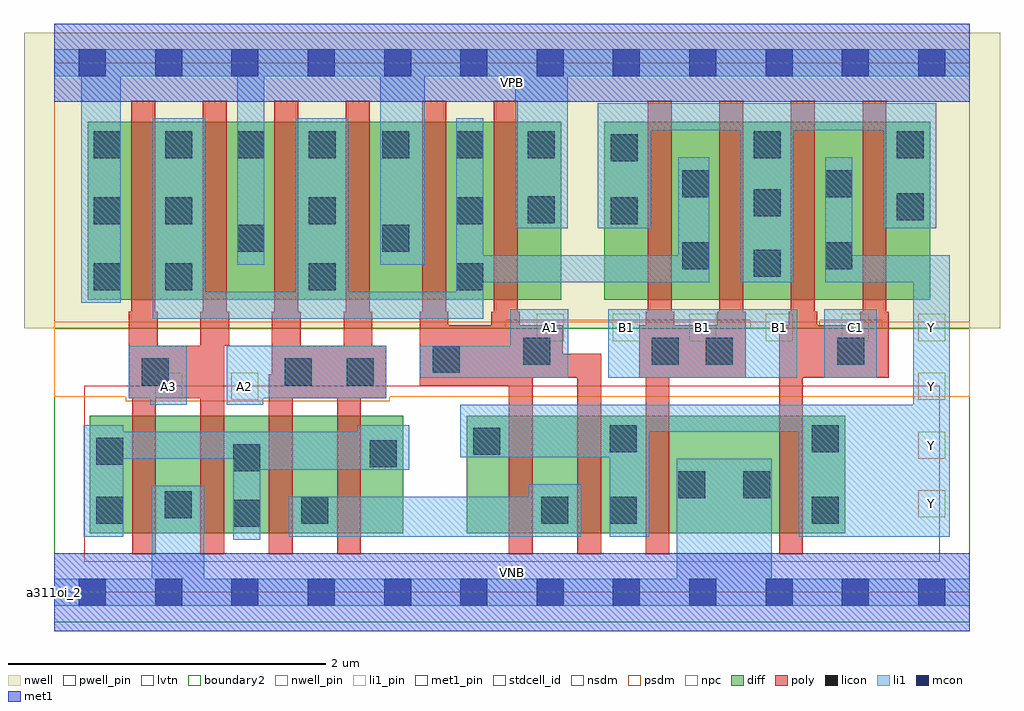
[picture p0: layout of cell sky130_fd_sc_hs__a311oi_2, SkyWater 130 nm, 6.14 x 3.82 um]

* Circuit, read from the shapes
.subckt sky130_fd_sc_hs__a311oi_2 A1 A2 A3 B1 C1 VGND VNB VPB VPWR Y
XM1 VGND A3 n1 VNB sky130_fd_pr__nfet_01v8_lvt w=0.74 l=0.15 m=2
XM2 n2 A2 n1 VNB sky130_fd_pr__nfet_01v8_lvt w=0.74 l=0.15 m=2
XM3 n2 A1 Y VNB sky130_fd_pr__nfet_01v8_lvt w=0.74 l=0.15 m=2
XM4 VGND B1 Y VNB sky130_fd_pr__nfet_01v8_lvt w=0.74 l=0.15
XM5 Y C1 VGND VNB sky130_fd_pr__nfet_01v8_lvt w=0.74 l=0.15
XM6 n3 A3 VPWR VPB sky130_fd_pr__pfet_01v8 w=1.12 l=0.15 m=2
XM7 n3 A2 VPWR VPB sky130_fd_pr__pfet_01v8 w=1.12 l=0.15 m=2
XM8 n3 A1 VPWR VPB sky130_fd_pr__pfet_01v8 w=1.12 l=0.15 m=2
XM9 n3 B1 n4 VPB sky130_fd_pr__pfet_01v8 w=1.12 l=0.15 m=2
XM10 Y C1 n4 VPB sky130_fd_pr__pfet_01v8 w=1.12 l=0.15 m=2
.ends

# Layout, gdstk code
import gdstk
lib = gdstk.Library(unit=1e-6, precision=1e-09)
def R(c, l, rs):  # rectangles x0, y0, x1, y1
    for r in rs: c.add(gdstk.rectangle(r[:2], r[2:], *l))
def A(c, l, x, y, w, h, nx, ny, dx, dy):  # array of equal rectangles
    R(c, l, [(x+i*dx, y+j*dy, x+i*dx+w, y+j*dy+h) for i in range(nx) for j in range(ny)])
def P(c, l, *ps):  # polygons
    for p in ps: c.add(gdstk.Polygon(p, *l))
nwell_pin = (64, 16)
nwell = (64, 20)
diff = (65, 20)
poly = (66, 20)
licon = (66, 44)
li1_pin = (67, 16)
li1 = (67, 20)
mcon = (67, 44)
met1_pin = (68, 16)
met1 = (68, 20)
stdcell_id = (81, 4)
nsdm = (93, 44)
psdm = (94, 20)
npc = (95, 20)
pwell_pin = (122, 16)
lvtn = (125, 44)
boundary2 = (236, 0)

sky130_fd_sc_hs__a311oi_ = lib.new_cell('sky130_fd_sc_hs__a311oi_2')
R(sky130_fd_sc_hs__a311oi_, nwell_pin, [(0,3.085,5.76,3.33)])
R(sky130_fd_sc_hs__a311oi_, nwell, [(-0.19,1.66,5.95,3.52)])
R(sky130_fd_sc_hs__a311oi_, diff, [(0.225,0.37,2.195,1.11), (2.595,0.37,4.975,1.11), (0.21,1.84,3.19,2.96), (3.46,1.84,5.51,2.96)])
P(sky130_fd_sc_hs__a311oi_, poly, [(1.1,1.765),(1.085,1.765),(1.085,3.09),(0.935,3.09),(0.935,1.765),(0.92,1.765),(0.92,1.55),(0.65,1.55),(0.65,1.765),(0.635,1.765),(0.635,3.09),(0.485,3.09),(0.485,1.765),(0.47,1.765),(0.47,1.22),(0.49,1.22),(0.49,0.24),(0.64,0.24),(0.64,1.22),(0.92,1.22),(0.92,0.24),(1.07,0.24),(1.07,1.55),(1.1,1.55)],
  [(2.09,1.55),(2,1.55),(2,1.765),(1.985,1.765),(1.985,3.09),(1.835,3.09),(1.835,1.765),(1.82,1.765),(1.82,1.55),(1.55,1.55),(1.55,1.765),(1.535,1.765),(1.535,3.09),(1.385,3.09),(1.385,1.765),(1.37,1.765),(1.37,1.37),(1.35,1.37),(1.35,0.24),(1.5,0.24),(1.5,1.22),(1.78,1.22),(1.78,0.24),(1.93,0.24),(1.93,1.22),(2.09,1.22)],
  [(3.44,1.5),(3.2,1.5),(3.2,1.68),(2.93,1.68),(2.93,1.765),(2.915,1.765),(2.915,3.09),(2.765,3.09),(2.765,1.765),(2.75,1.765),(2.75,1.68),(2.48,1.68),(2.48,1.765),(2.465,1.765),(2.465,3.09),(2.315,3.09),(2.315,1.765),(2.3,1.765),(2.3,1.3),(2.86,1.3),(2.86,0.24),(3.01,0.24),(3.01,1.35),(3.29,1.35),(3.29,0.24),(3.44,0.24)],
  [(4.35,1.765),(4.335,1.765),(4.335,3.09),(4.185,3.09),(4.185,1.765),(4.17,1.765),(4.17,1.68),(3.9,1.68),(3.9,1.765),(3.885,1.765),(3.885,3.09),(3.735,3.09),(3.735,1.765),(3.72,1.765),(3.72,1.68),(3.68,1.68),(3.68,1.35),(3.72,1.35),(3.72,0.24),(3.87,0.24),(3.87,1.35),(4.35,1.35)],
  [(5.25,1.765),(5.235,1.765),(5.235,3.09),(5.085,3.09),(5.085,1.765),(5.07,1.765),(5.07,1.68),(4.8,1.68),(4.8,1.765),(4.785,1.765),(4.785,3.09),(4.635,3.09),(4.635,1.765),(4.62,1.765),(4.62,1.68),(4.56,1.68),(4.56,0.24),(4.71,0.24),(4.71,1.35),(5.25,1.35)])
A(sky130_fd_sc_hs__a311oi_, licon, 2.53, 1.9, 0.17, 0.17, 1, 3, 0, 0.415)
A(sky130_fd_sc_hs__a311oi_, licon, 0.25, 2.73, 0.17, 0.17, 4, 1, 0.45, 0)
R(sky130_fd_sc_hs__a311oi_, licon, [(1.125,0.41,1.295,0.58), (0.265,0.43,0.435,0.6), (1.555,0.43,1.725,0.6), (3.065,0.43,3.235,0.6), (3.495,0.43,3.665,0.6), (4.765,0.43,4.935,0.6), (0.695,0.465,0.865,0.635), (3.925,0.59,4.095,0.76), (4.335,0.59,4.505,0.76), (1.125,0.76,1.295,0.93), (1.985,0.785,2.155,0.955), (0.265,0.8,0.435,0.97), (2.635,0.865,2.805,1.035), (3.495,0.88,3.665,1.05), (4.765,0.88,4.935,1.05), (0.55,1.3,0.72,1.47), (1.45,1.3,1.62,1.47), (1.84,1.3,2.01,1.47), (2.38,1.38,2.55,1.55), (2.95,1.43,3.12,1.6), (3.76,1.43,3.93,1.6), (4.1,1.43,4.27,1.6), (4.925,1.43,5.095,1.6), (0.25,1.9,0.42,2.07), (0.7,1.9,0.87,2.07), (1.6,1.9,1.77,2.07), (4.4,1.985,4.57,2.155), (3.95,2.03,4.12,2.2), (4.85,2.03,5.02,2.2), (1.15,2.14,1.32,2.31), (2.065,2.14,2.235,2.31), (0.25,2.315,0.42,2.485), (0.7,2.315,0.87,2.485), (1.6,2.315,1.77,2.485), (3.5,2.315,3.67,2.485), (2.98,2.32,3.15,2.49), (5.3,2.34,5.47,2.51), (4.4,2.365,4.57,2.535), (3.95,2.485,4.12,2.655), (4.85,2.485,5.02,2.655), (3.5,2.71,3.67,2.88), (2.065,2.73,2.235,2.9), (2.98,2.73,3.15,2.9), (4.4,2.73,4.57,2.9), (5.3,2.73,5.47,2.9)])
A(sky130_fd_sc_hs__a311oi_, li1_pin, 5.435, 0.47, 0.17, 0.17, 1, 3, 0, 0.37)
A(sky130_fd_sc_hs__a311oi_, li1_pin, 3.035, 1.58, 0.17, 0.17, 6, 1, 0.48, 0)
R(sky130_fd_sc_hs__a311oi_, li1_pin, [(0.635,1.21,0.805,1.38), (1.115,1.21,1.285,1.38)])
R(sky130_fd_sc_hs__a311oi_, li1, [(3.485,1.35,4.675,1.78), (4.845,1.35,5.175,1.78)])
P(sky130_fd_sc_hs__a311oi_, li1, [(2.9,2.29),(2.9,3.245),(2.33,3.245),(2.33,2.06),(2.05,2.06),(2.05,3.245),(1.32,3.245),(1.32,2.06),(1.15,2.06),(1.15,3.245),(0.42,3.245),(0.42,1.82),(0.17,1.82),(0.17,3.245),(0,3.245),(0,3.415),(5.76,3.415),(5.76,3.245),(3.23,3.245),(3.23,2.29)],
  [(0.615,0.085),(0.615,0.67),(0.945,0.67),(0.945,0.085),(3.915,0.085),(3.915,0.84),(4.515,0.84),(4.515,0.085),(5.76,0.085),(5.76,-0.085),(0,-0.085),(0,0.085)],
  [(5.02,2.12),(5.635,2.12),(5.635,0.35),(4.685,0.35),(4.685,1.01),(3.745,1.01),(3.745,0.35),(3.495,0.35),(3.495,0.85),(2.555,0.85),(2.555,1.18),(5.405,1.18),(5.405,1.95),(4.85,1.95),(4.85,2.735),(5.02,2.735)],
  [(5.55,3.075),(3.42,3.075),(3.42,2.29),(3.755,2.29),(3.755,2.905),(4.32,2.905),(4.32,1.95),(4.65,1.95),(4.65,2.905),(5.22,2.905),(5.22,2.29),(5.55,2.29)],
  [(1.52,1.89),(1.52,2.98),(1.85,2.98),(1.85,1.89),(2.53,1.89),(2.53,2.98),(2.7,2.98),(2.7,2.12),(3.925,2.12),(3.925,2.735),(4.12,2.735),(4.12,1.95),(2.7,1.95),(2.7,1.72),(0.62,1.72),(0.62,2.98),(0.95,2.98),(0.95,1.89)],
  [(1.125,0.33),(1.125,0.84),(0.435,0.84),(0.435,0.35),(0.185,0.35),(0.185,1.05),(0.435,1.05),(0.435,1.01),(1.905,1.01),(1.905,1.05),(2.235,1.05),(2.235,0.77),(1.295,0.77),(1.295,0.33)],
  [(2.985,0.6),(2.985,0.68),(3.315,0.68),(3.315,0.35),(1.475,0.35),(1.475,0.6)],
  [(0.47,1.22),(0.47,1.55),(0.835,1.55),(0.835,1.18),(0.605,1.18),(0.605,1.22)],
  [(1.085,1.55),(2.09,1.55),(2.09,1.22),(1.315,1.22),(1.315,1.18),(1.085,1.18)],
  [(3.235,1.78),(2.87,1.78),(2.87,1.55),(2.3,1.55),(2.3,1.35),(3.235,1.35)])
A(sky130_fd_sc_hs__a311oi_, mcon, 0.155, -0.085, 0.17, 0.17, 12, 2, 0.48, 3.33)
R(sky130_fd_sc_hs__a311oi_, met1_pin, [(0,0,5.76,0.245), (0,3.085,5.76,3.33)])
R(sky130_fd_sc_hs__a311oi_, met1, [(0,-0.245,5.76,0.245), (0,3.085,5.76,3.575)])
R(sky130_fd_sc_hs__a311oi_, stdcell_id, [(0,0,5.76,3.33)])
R(sky130_fd_sc_hs__a311oi_, nsdm, [(0,-0.19,5.76,1.66)])
P(sky130_fd_sc_hs__a311oi_, psdm, [(5.76,3.52),(0,3.52),(0,1.66),(2.84,1.66),(2.84,1.71),(4.38,1.71),(4.38,1.66),(4.815,1.66),(4.815,1.71),(5.205,1.71),(5.205,1.66),(5.76,1.66)])
P(sky130_fd_sc_hs__a311oi_, npc, [(5.76,1.7),(0,1.7),(0,1.23),(0.45,1.23),(0.45,1.2),(2.11,1.2),(2.11,1.23),(5.76,1.23)])
R(sky130_fd_sc_hs__a311oi_, pwell_pin, [(0,0,5.76,0.245)])
R(sky130_fd_sc_hs__a311oi_, lvtn, [(0.19,0.19,5.57,1.3)])
R(sky130_fd_sc_hs__a311oi_, boundary2, [(0,0,5.76,3.33)])
sky130_fd_sc_hs__a311oi_.add(gdstk.Label('a311oi_2', (0,0), layer=83, texttype=44))
sky130_fd_sc_hs__a311oi_.add(gdstk.Label('VNB', (2.88,0.123), layer=64, texttype=59))
sky130_fd_sc_hs__a311oi_.add(gdstk.Label('VPB', (2.88,3.208), layer=64, texttype=5))
sky130_fd_sc_hs__a311oi_.add(gdstk.Label('VPWR', (2.88,3.208), layer=68, texttype=5))
sky130_fd_sc_hs__a311oi_.add(gdstk.Label('VGND', (2.88,0.123), layer=68, texttype=5))
sky130_fd_sc_hs__a311oi_.add(gdstk.Label('Y', (5.52,0.555), layer=67, texttype=5))
sky130_fd_sc_hs__a311oi_.add(gdstk.Label('Y', (5.52,0.925), layer=67, texttype=5))
sky130_fd_sc_hs__a311oi_.add(gdstk.Label('Y', (5.52,1.295), layer=67, texttype=5))
sky130_fd_sc_hs__a311oi_.add(gdstk.Label('Y', (5.52,1.665), layer=67, texttype=5))
sky130_fd_sc_hs__a311oi_.add(gdstk.Label('C1', (5.04,1.665), layer=67, texttype=5))
sky130_fd_sc_hs__a311oi_.add(gdstk.Label('B1', (3.6,1.665), layer=67, texttype=5))
sky130_fd_sc_hs__a311oi_.add(gdstk.Label('B1', (4.08,1.665), layer=67, texttype=5))
sky130_fd_sc_hs__a311oi_.add(gdstk.Label('B1', (4.56,1.665), layer=67, texttype=5))
sky130_fd_sc_hs__a311oi_.add(gdstk.Label('A3', (0.72,1.295), layer=67, texttype=5))
sky130_fd_sc_hs__a311oi_.add(gdstk.Label('A2', (1.2,1.295), layer=67, texttype=5))
sky130_fd_sc_hs__a311oi_.add(gdstk.Label('A1', (3.12,1.665), layer=67, texttype=5))

lib.write_gds('sky130_fd_sc_hs__a311oi_2.gds')
